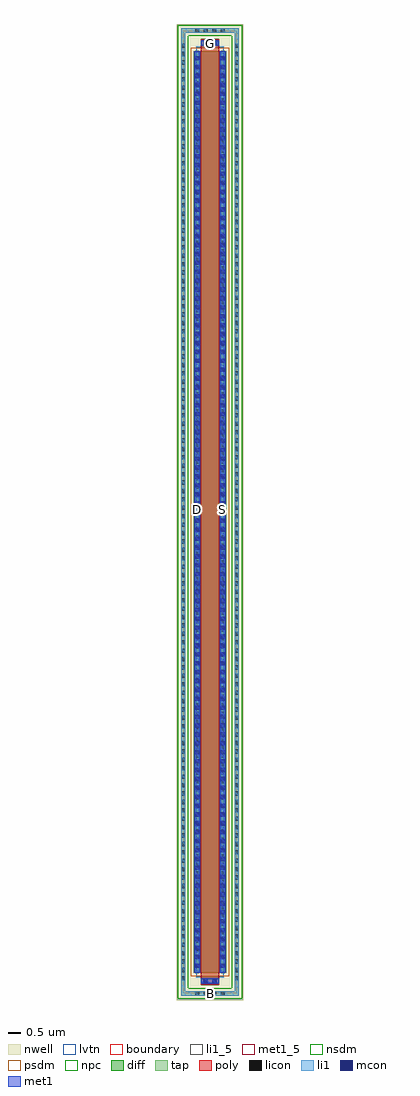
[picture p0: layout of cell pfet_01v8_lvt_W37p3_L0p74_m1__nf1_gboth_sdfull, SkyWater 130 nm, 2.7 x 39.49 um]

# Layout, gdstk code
import gdstk
lib = gdstk.Library(unit=1e-6, precision=1e-09)
def R(c, l, rs):  # rectangles x0, y0, x1, y1
    for r in rs: c.add(gdstk.rectangle(r[:2], r[2:], *l))
def A(c, l, x, y, w, h, nx, ny, dx, dy):  # array of equal rectangles
    R(c, l, [(x+i*dx, y+j*dy, x+i*dx+w, y+j*dy+h) for i in range(nx) for j in range(ny)])
nwell = (64, 20)
diff = (65, 20)
tap = (65, 44)
poly = (66, 20)
licon = (66, 44)
li1_5 = (67, 5)
li1 = (67, 20)
mcon = (67, 44)
met1_5 = (68, 5)
met1 = (68, 20)
nsdm = (93, 44)
psdm = (94, 20)
npc = (95, 20)
lvtn = (125, 44)
boundary = (235, 4)

sky130_fd_pr__pfet_01v8_ = lib.new_cell('sky130_fd_pr__pfet_01v8_lvt_NBSFYG')
R(sky130_fd_pr__pfet_01v8_, nwell, [(-1.35,-19.745,1.35,19.745)])
R(sky130_fd_pr__pfet_01v8_, diff, [(-0.66,-18.65,0.66,18.65)])
R(sky130_fd_pr__pfet_01v8_, tap, [(-1.17,-19.565,1.17,-19.395), (-1.17,-19.395,-1,19.395), (1,-19.395,1.17,19.395), (-1.17,19.395,1.17,19.565)])
R(sky130_fd_pr__pfet_01v8_, poly, [(-0.37,-19.135,0.37,19.135)])
A(sky130_fd_pr__pfet_01v8_, licon, -0.595, -19.565, 0.17, 0.17, 4, 2, 0.34, 38.96)
A(sky130_fd_pr__pfet_01v8_, licon, -1.17, -18.955, 0.17, 0.17, 1, 112, 0, 0.34)
A(sky130_fd_pr__pfet_01v8_, licon, 1, -18.955, 0.17, 0.17, 1, 112, 0, 0.34)
A(sky130_fd_pr__pfet_01v8_, licon, -0.6, -18.445, 0.17, 0.17, 1, 109, 0, 0.34)
A(sky130_fd_pr__pfet_01v8_, licon, 0.43, -18.445, 0.17, 0.17, 1, 109, 0, 0.34)
R(sky130_fd_pr__pfet_01v8_, licon, [(-0.255,-19.055,-0.085,-18.885), (0.085,-19.055,0.255,-18.885), (-0.255,18.885,-0.085,19.055), (0.085,18.885,0.255,19.055)])
R(sky130_fd_pr__pfet_01v8_, li1, [(-1.17,-19.565,1.17,-19.395), (-1.17,-19.395,-1,19.395), (1,-19.395,1.17,19.395), (-0.37,-19.055,0.37,-18.885), (-0.6,-18.67,-0.43,18.67), (0.43,-18.67,0.6,18.67), (-0.37,18.885,0.37,19.055), (-1.17,19.395,1.17,19.565)])
A(sky130_fd_pr__pfet_01v8_, mcon, -0.6, -18.445, 0.17, 0.17, 1, 103, 0, 0.36)
A(sky130_fd_pr__pfet_01v8_, mcon, 0.43, -18.445, 0.17, 0.17, 1, 103, 0, 0.36)
R(sky130_fd_pr__pfet_01v8_, mcon, [(-0.265,-19.055,-0.095,-18.885), (0.095,-19.055,0.265,-18.885), (-0.265,18.885,-0.095,19.055), (0.095,18.885,0.265,19.055)])
R(sky130_fd_pr__pfet_01v8_, met1, [(-0.35,-19.085,0.35,-18.855), (-0.63,-18.65,-0.4,18.65), (0.4,-18.65,0.63,18.65), (-0.35,18.855,0.35,19.085)])
R(sky130_fd_pr__pfet_01v8_, nsdm, [(-1.295,-19.69,1.295,-19.27), (-1.295,-19.27,-0.875,19.27), (0.875,-19.27,1.295,19.27), (-1.295,19.27,1.295,19.69)])
R(sky130_fd_pr__pfet_01v8_, psdm, [(-0.785,-18.775,0.785,18.775)])
R(sky130_fd_pr__pfet_01v8_, npc, [(-0.355,-19.155,0.355,-18.785), (-0.355,18.785,0.355,19.155)])
R(sky130_fd_pr__pfet_01v8_, lvtn, [(-0.55,-18.83,0.55,18.83)])
R(sky130_fd_pr__pfet_01v8_, boundary, [(-1.085,-19.48,1.085,19.48)])
sky130_fd_pr__pfet_01v8_.add(gdstk.Label('B', (0,-19.48), layer=67, texttype=5))
sky130_fd_pr__pfet_01v8_.add(gdstk.Label('D', (-0.515,0), layer=67, texttype=5))
sky130_fd_pr__pfet_01v8_.add(gdstk.Label('S', (0.515,0), layer=67, texttype=5))
sky130_fd_pr__pfet_01v8_.add(gdstk.Label('G', (0,18.97), layer=67, texttype=5))

pfet_01v8_lvt_w37p3_l0p7 = lib.new_cell('pfet_01v8_lvt_W37p3_L0p74_m1__nf1_gboth_sdfull')
R(pfet_01v8_lvt_w37p3_l0p7, li1_5, [(1,-0.085,1.17,0.085)])
R(pfet_01v8_lvt_w37p3_l0p7, li1, [(1,-0.085,1.17,0.085)])
R(pfet_01v8_lvt_w37p3_l0p7, met1_5, [(0.455,19.48,0.685,19.68), (1.485,19.48,1.715,19.68), (0.735,38.335,1.435,38.565)])
R(pfet_01v8_lvt_w37p3_l0p7, met1, [(0.455,19.48,0.685,19.68), (1.485,19.48,1.715,19.68), (0.735,38.335,1.435,38.565)])
pfet_01v8_lvt_w37p3_l0p7.add(gdstk.Reference(sky130_fd_pr__pfet_01v8_, (1.085,19.48)))
pfet_01v8_lvt_w37p3_l0p7.add(gdstk.Label('D', (0.57,19.58), layer=68, texttype=5))
pfet_01v8_lvt_w37p3_l0p7.add(gdstk.Label('S', (1.6,19.58), layer=68, texttype=5))
pfet_01v8_lvt_w37p3_l0p7.add(gdstk.Label('G', (1.085,38.45), layer=68, texttype=5))
pfet_01v8_lvt_w37p3_l0p7.add(gdstk.Label('B', (1.085,0), layer=67, texttype=5))

lib.write_gds('pfet_01v8_lvt_W37p3_L0p74_m1__nf1_gboth_sdfull.gds')
